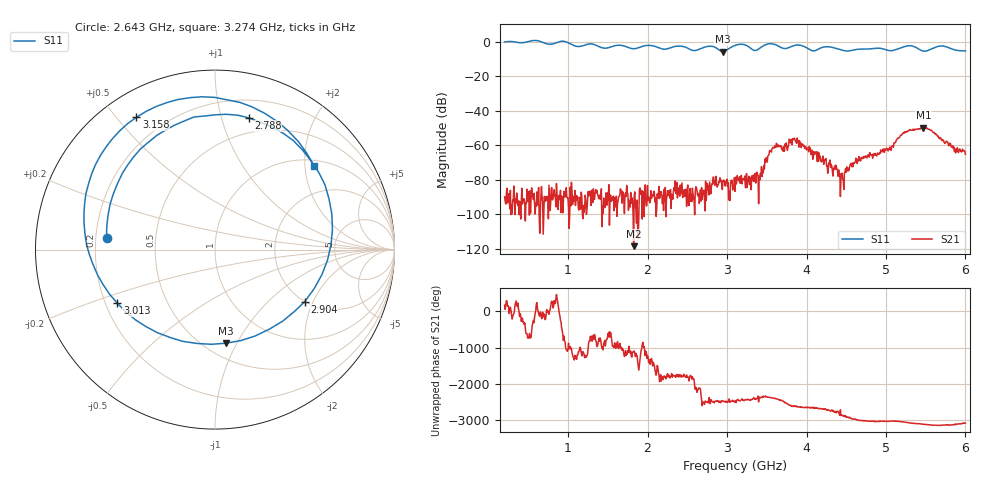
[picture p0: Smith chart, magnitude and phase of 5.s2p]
! NanoVNA-App
! Date: 2024-06-25 16:14:20
! Start: 200MHz Stop: 6GHz Points: 801
! S-Parameter data: F S11 S21 S12 S22
# Hz S RI R 50
!  Frequency  S11_Real  S11_Imag  S21_Real  S21_Imag  S12_Real  S12_Imag  S22_Real  S22_Imag
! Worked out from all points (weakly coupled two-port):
!   801 points, 200 MHz to 6 GHz, reference 50 ohm
!   highest |S21| = -49.68 dB at 5.471 GHz (marker M1); lowest = -118.6 dB at 1.824 GHz (marker M2)
!   lowest |S11| = -5.6 dB at 2.948 GHz (marker M3), VSWR 3.21, Z = 31.3 - j45.1 ohm
!   |S11| at or under -10 dB: nowhere
!   S12 and S22 are empty: the file has one direction only
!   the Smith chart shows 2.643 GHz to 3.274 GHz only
!   S11 on the Smith chart (normalised r, x): 2.643 GHz: 0.24, +0.05; 2.788 GHz: 0.35, +1.23; 2.904 GHz: 1.99, -1.73; 3.013 GHz: 0.25, -0.24; 3.158 GHz: 0.10, +0.56; 3.274 GHz: 1.15, +2.24
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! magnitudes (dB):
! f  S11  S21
! 200 MHz  0.0  -90.0
! 1.171 GHz  -2.3  -89.6
! 1.824 GHz  -3.9  -118.6
! 2.136 GHz  -3.2  -88.4
! 2.643 GHz  -4.3  -87.9
! 2.788 GHz  -2.4  -85.1
! 2.904 GHz  -4.8  -81.6
! 2.948 GHz  -5.6  -81.2
! 3.013 GHz  -4.1  -81.5
! 3.1 GHz  -2.0  -86.8
! 3.158 GHz  -1.3  -78.3
! 3.274 GHz  -2.8  -77.9
! 3.426 GHz  -3.1  -77.9
! 3.615 GHz  -1.6  -61.2
! 3.854 GHz  -1.9  -56.6
! 4.072 GHz  -5.0  -63.0
! 4.441 GHz  -4.6  -78.2
! 4.644 GHz  -4.2  -68.6
! 5.036 GHz  -5.0  -62.0
! 5.231 GHz  -2.7  -52.3
! 5.471 GHz  -5.3  -49.7
! 6 GHz  -5.2  -65.3
